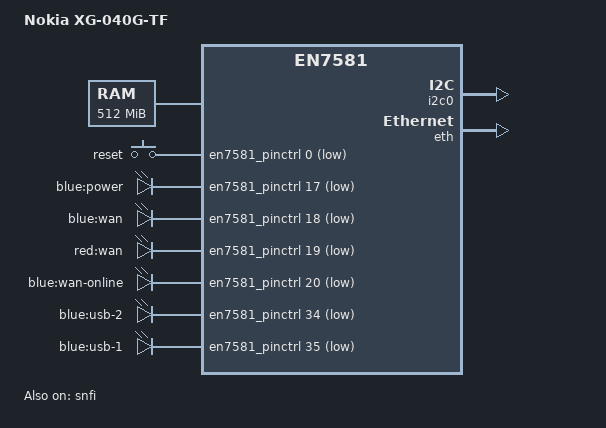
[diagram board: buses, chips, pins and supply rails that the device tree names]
// SPDX-License-Identifier: (GPL-2.0-only OR BSD-2-Clause)
/dts-v1/;

#include <dt-bindings/leds/common.h>
#include <dt-bindings/gpio/gpio.h>
#include <dt-bindings/input/input.h>
#include "en7581.dtsi"

/ {
	model = "Nokia XG-040G-TF";
	compatible = "nokia,xg-040g-tf",
		     "airoha,an7581",
		     "airoha,en7581";

	chosen {
		bootargs = "console=ttyS0,115200 earlycon";
		stdout-path = "serial0:115200n8";
		linux,usable-memory-range = <0x0 0x80200000 0x0 0x1fe00000>;
	};

	options {
		u-boot {
			compatible = "u-boot,config";
			/* Web recovery LED chase, in this order; red stays out. */
			httpd-chase-leds = <&led_power &led_wan &led_wan_online &led_usb1 &led_usb2>;
		};
	};

	memory@80000000 {
		device_type = "memory";
		reg = <0x0 0x80000000 0x0 0x20000000>;
	};

	keys {
		compatible = "gpio-keys";

		button-0 {
			label = "reset";
			linux,code = <KEY_RESTART>;
			gpios = <&en7581_pinctrl 0 GPIO_ACTIVE_LOW>;
		};
	};

	leds {
		compatible = "gpio-leds";

		led_power: led-0 {
			label = "blue:power";
			gpios = <&en7581_pinctrl 17 GPIO_ACTIVE_LOW>;
		};

		led_wan: led-1 {
			label = "blue:wan";
			gpios = <&en7581_pinctrl 18 GPIO_ACTIVE_LOW>;
		};

		led-2 {
			label = "red:wan";
			gpios = <&en7581_pinctrl 19 GPIO_ACTIVE_LOW>;
		};

		led_wan_online: led-3 {
			label = "blue:wan-online";
			gpios = <&en7581_pinctrl 20 GPIO_ACTIVE_LOW>;
		};

		led_usb2: led-4 {
			label = "blue:usb-2";
			gpios = <&en7581_pinctrl 34 GPIO_ACTIVE_LOW>;
		};

		led_usb1: led-5 {
			label = "blue:usb-1";
			gpios = <&en7581_pinctrl 35 GPIO_ACTIVE_LOW>;
		};
	};
};

&snfi {
	status = "okay";
};

&spi_nand {
	partitions {
		compatible = "fixed-partitions";
		#address-cells = <1>;
		#size-cells = <1>;

		partition@0 {
			label = "bl2";
			reg = <0x0 0x20000>;
		};

		partition@20000 {
			label = "ubi";
			reg = <0x20000 0xffe0000>;
		};
	};
};

&i2c0 {
	status = "okay";
};

&eth {
	status = "okay";
};
